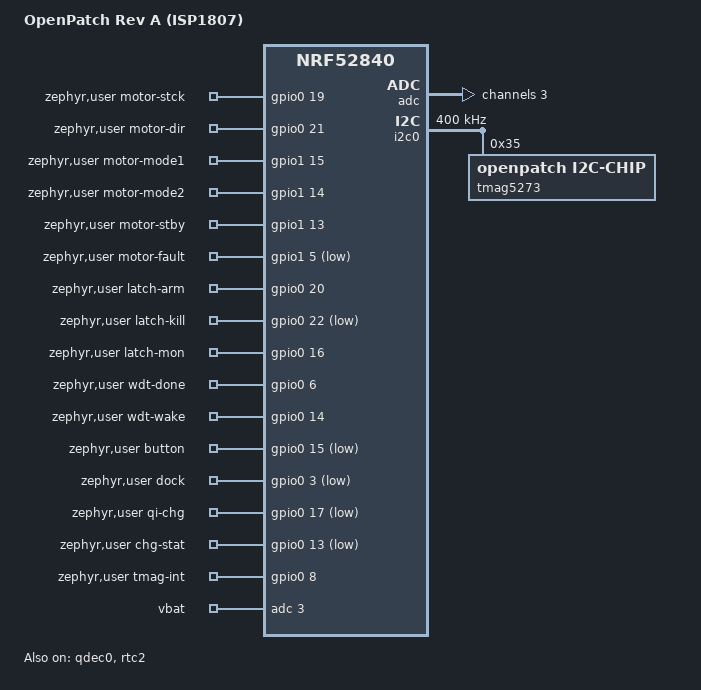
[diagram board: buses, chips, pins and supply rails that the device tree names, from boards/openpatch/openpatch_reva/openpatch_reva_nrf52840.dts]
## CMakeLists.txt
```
# OpenPatch pod firmware (nRF Connect SDK v3.4.x / Zephyr 4.x).
# EXPERIMENTAL DIY DEVICE - NOT A MEDICAL DEVICE.
#
# Use firmware/scripts/build.sh (sets up the toolchain environment, signing key and sysbuild).
#   Rev A board : west build --sysbuild -b openpatch_reva/nrf52840 firmware/zephyr
#   Dev kit     : west build --sysbuild -b nrf52840dk/nrf52840 firmware/zephyr -- -DEXTRA_CONF_FILE=dev.conf
cmake_minimum_required(VERSION 3.20.0)

# Custom board lives in ./boards (HWMv2: boards/<vendor>/<board>/board.yml).
list(APPEND BOARD_ROOT ${CMAKE_CURRENT_LIST_DIR})

find_package(Zephyr REQUIRED HINTS $ENV{ZEPHYR_BASE})
project(openpatch)

set(OP_CORE_DIR ${CMAKE_CURRENT_LIST_DIR}/../core)
file(GLOB OP_CORE_SRC CONFIGURE_DEPENDS ${OP_CORE_DIR}/src/*.c)
file(GLOB OP_APP_SRC CONFIGURE_DEPENDS ${CMAKE_CURRENT_LIST_DIR}/src/*.c)

target_sources(app PRIVATE ${OP_APP_SRC} ${OP_CORE_SRC})
target_include_directories(app PRIVATE ${OP_CORE_DIR}/include src)
# The portable core is warning-clean at -Wconversion on the host; keep it that way here.
set_source_files_properties(${OP_CORE_SRC} PROPERTIES COMPILE_OPTIONS "-Wconversion;-Wsign-conversion")
```

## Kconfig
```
mainmenu "OpenPatch"

menu "OpenPatch pod firmware"

config OPENPATCH_ALLOW_PLAINTEXT
	bool "Accept unencrypted protocol frames (DEVELOPMENT ONLY)"
	default n
	help
	  The application-layer AES-CCM backend and the session key agreement are not
	  implemented yet (open issue). With this disabled the pod rejects every frame,
	  i.e. it cannot be commanded. Enable only via dev.conf on a bench pod without
	  insulin. Never flash this to a pod worn on a body.

choice OPENPATCH_DRIVE
	prompt "Drive train (sets the insulin volume per motor step)"
	default OPENPATCH_DRIVE_ZWBPD006006_5_1
	help
	  SAFETY CRITICAL: selects the drive calibration preset (core/include/op/drive_cal.h) that
	  scales EVERY dose. It must match the motor/gearbox that is physically installed. The
	  selection is persisted on first boot; a later build with a different drive refuses to
	  deliver (OP_FAULT_NO_CALIBRATION) until the pod's flash is erased.

config OPENPATCH_DRIVE_ZWBPD006006_5_1
	bool "Rev A: Zhaowei ZWBPD006006, 20 steps/rev, 5:1 gear (0.0261 U/step)"

config OPENPATCH_DRIVE_FAULHABER_16_1
	bool "Premium: Faulhaber ADM0620 + 06/1 16:1 gear (0.0082 U/step, ~122.6 steps/U)"

endchoice

config OPENPATCH_RESERVOIR_MU
	int "Reservoir capacity in milli-units (70000 / 100000 / 200000)"
	default 200000

config OPENPATCH_SIM_ENCODER
	bool "Simulate the spindle encoder (open loop, perfect delivery)"
	default y if BOARD_NRF52840DK
	help
	  For the dev kit without a TMAG5273 + magnet on a spindle. Defeats the independent
	  delivery verification - bench use only.

config OPENPATCH_SIM_DOCK
	bool "Dock input is a push button that toggles a simulated DOCKED state"
	default y if BOARD_NRF52840DK
	help
	  For the dev kit without the Hall switch + magnet in a cannula adapter. Button 2 toggles
	  the simulated input; it starts UNDOCKED, so nothing delivers until it is pressed.
	  Bench use only.

config OPENPATCH_BATTERY_MONITOR
	bool "Board has a battery that the firmware monitors (VBAT via SAADC)"
	default y
	help
	  Disabled for the USB-powered bench controller: the HAL then gives the core no battery hook,
	  so there are no battery faults, no low-battery events and no battery alarms, and GetStatus
	  reports OP_BATTERY_NONE_MV (0xFFFF).

config OPENPATCH_SIM_BATTERY
	bool "Report a fixed battery voltage instead of reading SAADC"
	default y if BOARD_NRF52840DK
	help
	  The dev kit has no battery divider.

config OPENPATCH_SIM_BATTERY_MV
	int "Simulated battery voltage in mV"
	default 3900

config OPENPATCH_VBAT_DIV_NUM
	int "VBAT = V(SAADC) * NUM / DEN (divider 1.5M / 1M => 5/2)"
	default 5

config OPENPATCH_VBAT_DIV_DEN
	int "VBAT divider denominator"
	default 2

config OPENPATCH_VMOT_MIN_MV
	int "Minimum VMOT (mV) after arming the safety latch, else the motor stays off"
	default 2500

config OPENPATCH_STEP_RATE_HZ
	int "Motor step rate in Hz (full steps)"
	default 100
	range 10 400
	help
	  The STSPIN220 steps on the rising edge of STCK. At 100 Hz a 40 step prime takes 0.4 s.
	  The hardware watchdog worst case (see electronics/README.md) scales with this rate.

config OPENPATCH_STSPIN_MODE_BITS
	hex "STSPIN220 MODE1..MODE4 levels (bit0 = MODE1 ... bit3 = MODE4) for full-step"
	default 0x0
	help
	  Sampled by the driver on the rising edge of STBY/RESET. VERIFY against the STSPIN220
	  datasheet mode table before the first spin.

config OPENPATCH_ENC_REVERSE
	bool "Spindle angle increases opposite to the motor's forward direction"
	help
	  Depends on the magnet / sensor orientation. Verify on hardware.

config OPENPATCH_MOTOR_DIR_FORWARD_LEVEL
	int "Logical DIR level for delivery (forward)"
	default 1
	range 0 1

config OPENPATCH_PAIRING_WINDOW_S
	int "Seconds BLE pairing stays open after a button press"
	default 60

config OPENPATCH_WDT_HEARTBEAT_MS
	int "Max age of the main-loop heartbeat for answering a TPL5010 WAKE with DONE"
	default 2500
	help
	  The core ticks once per second. If the tick is late by more than this, DONE is
	  withheld, the TPL5010 resets the MCU and clears the motor latch.

config OPENPATCH_QDEC_MAX_UNSEEN_STEPS
	int "Steps commanded without a single hall (QDEC) count before the watchdog is starved"
	default 60 if OPENPATCH_DRIVE_ZWBPD006006_5_1
	default 120
	help
	  Hall path B gives about one count per spindle half-turn (5:1 drive: 25 steps per count,
	  0.65 U). The default keeps the unmonitored volume near 1.6 U (60 steps x 0.0261 U on the
	  5:1 drive). Used when the QDEC node is enabled in the devicetree.

config OPENPATCH_TMAG_OPTIONAL
	bool "TMAG5273 is an optional part: continue with a simulated encoder if it does not answer"
	help
	  Bench pod: the TMAG5273 may not be fitted. Without it there is no spindle slip measurement
	  (the occlusion detector cannot see a blocked line); see firmware/docs/bench-testing.md.

config OPENPATCH_IMOT_MV_PER_A
	int "Motor current sense gain in mV per A at the SAADC input (1 ohm = 1000)"
	default 1000
	range 1 100000
	help
	  Only used with an "imot" io-channel (bench controller). VERIFY against the sense resistor and
	  analog front end of the real board.

config OPENPATCH_OCC_ABS_PEAK_MA
	int "Occlusion detector: peak motor current (mA) that counts as stalled when the spindle also slips"
	default 150

config OPENPATCH_OCC_RISE_PCT
	int "Occlusion detector: mean current as % of the learned healthy baseline that counts as loaded"
	default 150

config OPENPATCH_OCC_SLIP_PCT_MIN
	int "Occlusion detector: encoder slip (%) needed together with a current criterion"
	default 30
	range 1 100

config OPENPATCH_OCC_STALL_SLIP_PCT
	int "Occlusion detector: encoder slip (%) that counts on its own"
	default 60
	range 1 100

config OPENPATCH_OCC_WINDOW_STEPS
	int "Occlusion detector: steps per evaluation window"
	default 8
	range 1 1000

config OPENPATCH_OCC_STRIKES
	int "Occlusion detector: consecutive bad windows that declare an occlusion"
	default 2
	range 1 20

config OPENPATCH_OCC_BASELINE_WINDOWS
	int "Occlusion detector: healthy windows before the relative current test is armed"
	default 3

config OPENPATCH_BENCH_MODE
	bool "Bench test mode: shell commands for gravimetric WATER tests (TEST ONLY)"
	depends on SHELL
	help
	  Adds the `bench` shell command set (docs: firmware/docs/bench-testing.md). The safety
	  supervisor stays fully active. Never enable on a pod that could ever be worn.

config OPENPATCH_LONG_PRESS_MS
	int "Button hold time for emergency stop (suspend delivery)"
	default 3000

endmenu

source "Kconfig.zephyr"
```

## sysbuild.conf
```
# MCUboot with ECDSA-P256 signed images. The signing key is passed by firmware/scripts/build.sh
# (-DSB_CONFIG_BOOT_SIGNATURE_KEY_FILE=...); the SDK's public demo key must never be used.
SB_CONFIG_BOOTLOADER_MCUBOOT=y
SB_CONFIG_BOOT_SIGNATURE_TYPE_ECDSA_P256=y
```

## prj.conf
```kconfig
# OpenPatch pod firmware - base configuration (production-like: no plaintext frames).

# --- Bluetooth LE peripheral; 244-byte frames fit one notification (ATT MTU 247) ---
CONFIG_BT=y
CONFIG_BT_PERIPHERAL=y
CONFIG_BT_DEVICE_NAME="OpenPatch"
CONFIG_BT_DEVICE_NAME_DYNAMIC=y
CONFIG_BT_DEVICE_NAME_MAX=24
CONFIG_BT_L2CAP_TX_MTU=247
CONFIG_BT_BUF_ACL_RX_SIZE=251
CONFIG_BT_BUF_ACL_TX_SIZE=251
CONFIG_BT_USER_DATA_LEN_UPDATE=y
CONFIG_BT_MAX_CONN=1

# --- pairing: LE Secure Connections only, bonded, accepted only after a button press ---
CONFIG_BT_SMP=y
CONFIG_BT_SMP_SC_ONLY=y
CONFIG_BT_SMP_APP_PAIRING_ACCEPT=y
CONFIG_BT_SMP_ALLOW_UNAUTH_OVERWRITE=y
CONFIG_BT_BONDABLE=y
CONFIG_BT_MAX_PAIRED=1
CONFIG_BT_SETTINGS=y

# --- persistence: settings on NVS in the "storage" partition ---
CONFIG_SETTINGS=y
CONFIG_SETTINGS_NVS=y
CONFIG_NVS=y
CONFIG_FLASH=y
CONFIG_FLASH_MAP=y
CONFIG_FLASH_PAGE_LAYOUT=y
CONFIG_MPU_ALLOW_FLASH_WRITE=y

# --- peripherals used by the HAL ---
CONFIG_GPIO=y
CONFIG_I2C=y
CONFIG_ADC=y
CONFIG_PWM=y
CONFIG_COUNTER=y
CONFIG_SENSOR=y

# --- signed DFU over BLE (SMP / mcumgr), MCUboot is added by sysbuild.conf ---
CONFIG_MCUMGR=y
CONFIG_MCUMGR_GRP_IMG=y
CONFIG_MCUMGR_GRP_OS=y
CONFIG_MCUMGR_TRANSPORT_BT=y
CONFIG_MCUMGR_TRANSPORT_BT_PERM_RW_ENCRYPT=y
CONFIG_MCUMGR_MGMT_NOTIFICATION_HOOKS=y
CONFIG_MCUMGR_GRP_IMG_UPLOAD_CHECK_HOOK=y
CONFIG_IMG_MANAGER=y
CONFIG_STREAM_FLASH=y
CONFIG_NET_BUF=y
CONFIG_ZCBOR=y
CONFIG_MCUBOOT_IMG_MANAGER=y

# --- diagnostics: RTT over SWD (the pod has no UART pads) ---
CONFIG_LOG=y
CONFIG_LOG_MODE_DEFERRED=y
CONFIG_ASSERT=y
CONFIG_USE_SEGGER_RTT=y
CONFIG_LOG_BACKEND_RTT=y
CONFIG_MAIN_STACK_SIZE=4096
CONFIG_SYSTEM_WORKQUEUE_STACK_SIZE=2048
CONFIG_HEAP_MEM_POOL_SIZE=2048
CONFIG_REBOOT=y
CONFIG_RESET_ON_FATAL_ERROR=y
```

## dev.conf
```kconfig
# DEVELOPMENT ONLY: unencrypted frames. Never flash to a pod worn on a body.
CONFIG_OPENPATCH_ALLOW_PLAINTEXT=y
```

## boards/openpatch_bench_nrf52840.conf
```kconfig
# Bench controller (openpatch_bench/nrf52840): TEST ONLY, water only.
# The bench shell lives on SEGGER RTT channel 0 (JLinkRTTClient / `nrfutil rtt`). The RTT log
# backend would fight for the same channel, so logs go through the shell's own log backend.
CONFIG_OPENPATCH_BENCH_MODE=y
CONFIG_OPENPATCH_BATTERY_MONITOR=n
CONFIG_OPENPATCH_TMAG_OPTIONAL=y

CONFIG_SHELL=y
CONFIG_SHELL_BACKEND_RTT=y
CONFIG_SHELL_LOG_BACKEND=y
CONFIG_SHELL_STACK_SIZE=3072
CONFIG_SHELL_CMD_BUFF_SIZE=96
CONFIG_LOG_BACKEND_RTT=n
CONFIG_RTT_CONSOLE=y
CONFIG_KERNEL_SHELL=n
CONFIG_SHELL_HISTORY=n
CONFIG_DEVMEM_SHELL=n
CONFIG_DEVICE_SHELL=n
CONFIG_DATE_SHELL=n
```

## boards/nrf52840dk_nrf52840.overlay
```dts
/*
 * SPDX-License-Identifier: Apache-2.0
 *
 * Bench setup on the nRF52840-DK, before Rev A boards exist. Same /zephyr,user
 * properties as boards/openpatch/openpatch_reva, re-mapped onto DK header pins.
 * Optional blocks (hardware safety latch, QDEC, charger, TMAG5273) are simply
 * absent: the application skips every feature whose devicetree property is missing.
 *
 * Wiring (DK Arduino header, labels D0..D13 / A0..A5, SDA/SCL):
 *   STSPIN220 breakout: STCK=D3 (P1.04), DIR=D4 (P1.05), MODE1=D5 (P1.06), MODE2=D6 (P1.07),
 *                       STBY/RESET=D7 (P1.08), EN/FAULT=D8 (P1.10)
 *   Battery divider test input: A0 (VBAT), A1 (VMOT) - ignored while CONFIG_OPENPATCH_SIM_BATTERY=y
 *   Nothing needs to be connected to see the firmware run: encoder and battery are
 *   simulated (CONFIG_OPENPATCH_SIM_*), LED1 (PWM) acts as the buzzer, Button 1 as the pod button,
 *   Button 2 toggles the simulated DOCKED input (starts undocked).
 */

/ {
	aliases {
		pwm-buzzer = &pwm0;
	};

	zephyr,user {
		motor-stck-gpios = <&gpio1 4 GPIO_ACTIVE_HIGH>;   /* D3 */
		motor-dir-gpios = <&gpio1 5 GPIO_ACTIVE_HIGH>;    /* D4 */
		motor-mode1-gpios = <&gpio1 6 GPIO_ACTIVE_HIGH>;  /* D5 */
		motor-mode2-gpios = <&gpio1 7 GPIO_ACTIVE_HIGH>;  /* D6 */
		motor-stby-gpios = <&gpio1 8 GPIO_ACTIVE_HIGH>;   /* D7 */
		motor-fault-gpios = <&gpio1 10 (GPIO_ACTIVE_LOW | GPIO_PULL_UP)>; /* D8 */

		wdt-done-gpios = <&gpio1 15 GPIO_ACTIVE_HIGH>;    /* D13: no TPL5010 on the DK, just a pin */
		wdt-wake-gpios = <&gpio1 3 GPIO_ACTIVE_HIGH>;     /* D2: connect a function generator to test */

		button-gpios = <&gpio0 11 (GPIO_PULL_UP | GPIO_ACTIVE_LOW)>; /* Button 1 */
		/* Button 2 toggles the SIMULATED dock input (CONFIG_OPENPATCH_SIM_DOCK) */
		dock-gpios = <&gpio0 12 (GPIO_PULL_UP | GPIO_ACTIVE_LOW)>;

		io-channels = <&adc 2>, <&adc 1>;
		io-channel-names = "vmot", "vbat";               /* A1 = P0.04 = AIN2, A0 = P0.03 = AIN1 */
	};
};

&adc {
	#address-cells = <1>;
	#size-cells = <0>;

	channel@1 {
		reg = <1>;
		zephyr,gain = "ADC_GAIN_1_4";
		zephyr,reference = "ADC_REF_INTERNAL";
		zephyr,acquisition-time = <ADC_ACQ_TIME(ADC_ACQ_TIME_MICROSECONDS, 40)>;
		zephyr,input-positive = <NRF_SAADC_AIN1>;
		zephyr,resolution = <12>;
		zephyr,oversampling = <3>;
	};

	channel@2 {
		reg = <2>;
		zephyr,gain = "ADC_GAIN_1_4";
		zephyr,reference = "ADC_REF_INTERNAL";
		zephyr,acquisition-time = <ADC_ACQ_TIME(ADC_ACQ_TIME_MICROSECONDS, 40)>;
		zephyr,input-positive = <NRF_SAADC_AIN2>;
		zephyr,resolution = <12>;
		zephyr,oversampling = <3>;
	};
};

/* RTC2 = step pulse timebase */
&rtc2 {
	status = "okay";
};
```

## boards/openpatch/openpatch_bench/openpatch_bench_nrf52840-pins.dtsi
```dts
/*
 * SPDX-License-Identifier: Apache-2.0
 *
 * OpenPatch bench controller: ALL pin assignments in one place (pinctrl + /zephyr,user GPIOs).
 * Source of truth: electronics/bench/pin-assignment.md.
 *
 * *** PLACEHOLDER PINS ***  Every pin below is a free-choice placeholder on a valid nRF52840
 * pad until electronics/bench/pin-assignment.md exists. They are NOT the board's real routing.
 * Do not connect hardware on the strength of this file. When the real table lands, edit only
 * this file and delete the `openpatch,placeholder-pins` property in /zephyr,user below; the
 * firmware prints a loud warning at every boot while the property is present.
 *
 * Avoided on purpose: P0.00/P0.01 (crystal pads on bare chips), P0.09/P0.10 (NFC pins),
 * P0.18 (nRESET, only if the board wires it).
 */

&pinctrl {
	/* PLACEHOLDER: TMAG5273 on I2C (optional part) */
	i2c0_default: i2c0_default {
		group1 {
			psels = <NRF_PSEL(TWIM_SDA, 0, 26)>,
				<NRF_PSEL(TWIM_SCL, 0, 27)>;
		};
	};

	i2c0_sleep: i2c0_sleep {
		group1 {
			psels = <NRF_PSEL(TWIM_SDA, 0, 26)>,
				<NRF_PSEL(TWIM_SCL, 0, 27)>;
			low-power-enable;
		};
	};

	/* PLACEHOLDER: buzzer drive (BUZ_PWM) */
	pwm0_default: pwm0_default {
		group1 {
			psels = <NRF_PSEL(PWM_OUT0, 0, 23)>;
		};
	};

	pwm0_sleep: pwm0_sleep {
		group1 {
			psels = <NRF_PSEL(PWM_OUT0, 0, 23)>;
			low-power-enable;
		};
	};

	/* PLACEHOLDER: HALL_A / HALL_B (2x DRV5032 in the pod, via FFC) -> QDEC */
	qdec_default: qdec_default {
		group1 {
			psels = <NRF_PSEL(QDEC_A, 1, 1)>,
				<NRF_PSEL(QDEC_B, 1, 2)>;
		};
	};

	qdec_sleep: qdec_sleep {
		group1 {
			psels = <NRF_PSEL(QDEC_A, 1, 1)>,
				<NRF_PSEL(QDEC_B, 1, 2)>;
			low-power-enable;
		};
	};
};

/ {
	zephyr,user {
		/* Remove this property when electronics/bench/pin-assignment.md has been applied. */
		openpatch,placeholder-pins;

		/* ---- STSPIN220 motor driver (full-step in firmware) ---- */
		motor-stck-gpios = <&gpio0 13 GPIO_ACTIVE_HIGH>;  /* PLACEHOLDER STEP / MODE3 */
		motor-dir-gpios = <&gpio0 14 GPIO_ACTIVE_HIGH>;   /* PLACEHOLDER DIR / MODE4 */
		/* STBY/RESET: high = driver active, pull-down on the board = fail-safe */
		motor-stby-gpios = <&gpio0 15 GPIO_ACTIVE_HIGH>;  /* PLACEHOLDER */
		/* EN/FAULT is open drain with a pull-up at the driver: read only */
		motor-fault-gpios = <&gpio0 16 (GPIO_ACTIVE_LOW | GPIO_PULL_UP)>; /* PLACEHOLDER */
		/* MODE1/MODE2 are strapped on the bench board (not driven by the MCU): no motor-mode*-gpios */

		/* ---- hardware interlock: VMOT = MCU enable AND TPL5010 latch AND DOCKED ---- */
		motor-enable-gpios = <&gpio0 17 GPIO_ACTIVE_HIGH>;   /* PLACEHOLDER MCU motor-enable */
		motor-allow-mon-gpios = <&gpio0 20 GPIO_ACTIVE_HIGH>; /* PLACEHOLDER read-back: motor supply allowed */

		/* ---- TPL5010 external watchdog ---- */
		wdt-done-gpios = <&gpio0 22 GPIO_ACTIVE_HIGH>;  /* PLACEHOLDER DONE: CPU-served only */
		wdt-wake-gpios = <&gpio0 24 GPIO_ACTIVE_HIGH>;  /* PLACEHOLDER WAKE pulse -> interrupt */

		/* ---- inputs from the pod / operator ---- */
		/* DOCKED: dock hall switch in the pod, via the FFC; asserted (low) = docked */
		dock-gpios = <&gpio0 11 (GPIO_PULL_UP | GPIO_ACTIVE_LOW)>;   /* PLACEHOLDER */
		button-gpios = <&gpio0 12 (GPIO_PULL_UP | GPIO_ACTIVE_LOW)>; /* PLACEHOLDER BTN_N */
		tmag-int-gpios = <&gpio0 8 GPIO_ACTIVE_HIGH>;                /* PLACEHOLDER optional TMAG5273 INT */

		/* ---- status LEDs ---- */
		status-led-gpios = <&gpio0 6 GPIO_ACTIVE_HIGH>;  /* PLACEHOLDER: on = active+docked, blinks = bench run */
		fault-led-gpios = <&gpio0 7 GPIO_ACTIVE_HIGH>;   /* PLACEHOLDER: on = latched fault */

		/* ---- SAADC: motor current sense (voltage across the STSPIN220 sense resistor(s)) ---- */
		io-channels = <&adc 0>;                          /* PLACEHOLDER AIN0 = P0.02 */
		io-channel-names = "imot";
	};
};
```

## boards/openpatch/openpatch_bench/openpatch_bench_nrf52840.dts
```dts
/*
 * SPDX-License-Identifier: Apache-2.0
 *
 * OpenPatch Rev A bench controller (spec/design-parameters.md 4a): nRF52840 module, STSPIN220,
 * hardware interlock, TPL5010, USB-C 5 V power (no battery, no charger), buzzer, button, 2 LEDs.
 * Drives the bench pod (motor + 2 halls + dock hall + optional TMAG5273) through an FFC cable.
 * TEST ONLY - NOT FOR HUMAN USE. Water tests only.
 *
 * All pins are in openpatch_bench_nrf52840-pins.dtsi (currently PLACEHOLDERS).
 */

/dts-v1/;
#include <nordic/nrf52840_qiaa.dtsi>
#include <nordic/nrf52840_partition.dtsi>
#include "openpatch_bench_nrf52840-pins.dtsi"

/ {
	model = "OpenPatch Rev A bench controller";
	compatible = "openpatch,bench";

	aliases {
		pwm-buzzer = &pwm0;
		qdec-hall = &qdec0;
		watchdog0 = &wdt0;
	};
};

&gpiote {
	status = "okay";
};

&gpio0 {
	status = "okay";
};

&gpio1 {
	status = "okay";
};

&adc {
	status = "okay";
	#address-cells = <1>;
	#size-cells = <0>;

	/* Motor current: V(sense) is a few 10 mV to ~0.15 V (VERIFY the analog front end on the board).
	 * Gain 4 on the 0.6 V reference = 0.15 V full scale, 12 bit = about 37 uV per count. */
	channel@0 {
		reg = <0>;
		zephyr,gain = "ADC_GAIN_4";
		zephyr,reference = "ADC_REF_INTERNAL";
		zephyr,acquisition-time = <ADC_ACQ_TIME(ADC_ACQ_TIME_MICROSECONDS, 10)>;
		zephyr,input-positive = <NRF_SAADC_AIN0>;
		zephyr,resolution = <12>;
	};
};

&i2c0 {
	compatible = "nordic,nrf-twim";
	status = "okay";
	clock-frequency = <I2C_BITRATE_FAST>;
	pinctrl-0 = <&i2c0_default>;
	pinctrl-1 = <&i2c0_sleep>;
	pinctrl-names = "default", "sleep";

	/* TMAG5273A1 3D hall (SOT-23-6 in the pod): OPTIONAL part. Without it the encoder is simulated. */
	tmag5273: tmag5273@35 {
		compatible = "openpatch,i2c-chip";
		reg = <0x35>;
	};
};

&pwm0 {
	status = "okay";
	pinctrl-0 = <&pwm0_default>;
	pinctrl-1 = <&pwm0_sleep>;
	pinctrl-names = "default", "sleep";
};

&qdec0 {
	status = "okay";
	pinctrl-0 = <&qdec_default>;
	pinctrl-1 = <&qdec_sleep>;
	pinctrl-names = "default", "sleep";
	steps = <4>;
	led-pre = <0>;
	nordic,period = "SAMPLEPER_2048US";
};

/* RTC2 = step pulse timebase (RTC0/RTC1 belong to the BLE controller / kernel). */
&rtc2 {
	status = "okay";
};
```

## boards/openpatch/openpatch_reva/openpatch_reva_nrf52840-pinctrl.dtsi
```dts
/*
 * SPDX-License-Identifier: Apache-2.0
 * Peripheral pin routing for OpenPatch Rev A. Source of truth: electronics/pin-assignment.md
 * (ISP1807 module pad -> nRF52840 port.pin). Plain GPIOs live in openpatch_reva_nrf52840.dts.
 */

&pinctrl {
	/* I2C: TMAG5273 (0x35) only; 4.7k pull-up is on the board */
	i2c0_default: i2c0_default {
		group1 {
			psels = <NRF_PSEL(TWIM_SDA, 0, 26)>,
				<NRF_PSEL(TWIM_SCL, 0, 27)>;
		};
	};

	i2c0_sleep: i2c0_sleep {
		group1 {
			psels = <NRF_PSEL(TWIM_SDA, 0, 26)>,
				<NRF_PSEL(TWIM_SCL, 0, 27)>;
			low-power-enable;
		};
	};

	/* HALL_A / HALL_B: 2x DRV5032 push-pull outputs, counted by QDEC independent of the CPU */
	qdec_default: qdec_default {
		group1 {
			psels = <NRF_PSEL(QDEC_A, 1, 2)>,
				<NRF_PSEL(QDEC_B, 1, 6)>;
		};
	};

	qdec_sleep: qdec_sleep {
		group1 {
			psels = <NRF_PSEL(QDEC_A, 1, 2)>,
				<NRF_PSEL(QDEC_B, 1, 6)>;
			low-power-enable;
		};
	};
};
```

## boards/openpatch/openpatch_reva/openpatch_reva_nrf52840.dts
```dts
/*
 * SPDX-License-Identifier: Apache-2.0
 *
 * OpenPatch Rev A: Insight SiP ISP1807 (nRF52840), insulin patch pump pod.
 * EXPERIMENTAL DIY DEVICE - NOT A MEDICAL DEVICE.
 *
 * All pin numbers come from electronics/pin-assignment.md (pad -> port.pin).
 * The application only uses the properties of the /zephyr,user node below, so
 * a bench setup (nrf52840dk) re-maps them in its own overlay and no C code
 * contains a pin number.
 */

/dts-v1/;
#include <nordic/nrf52840_qiaa.dtsi>
#include <nordic/nrf52840_partition.dtsi>
#include "openpatch_reva_nrf52840-pinctrl.dtsi"

/ {
	model = "OpenPatch Rev A (ISP1807)";
	compatible = "openpatch,reva";

	chosen {
		zephyr,console = &rtt0;
		zephyr,shell-uart = &rtt0;
	};

	rtt0: rtt_chan0 {
		compatible = "segger,rtt-uart";
		status = "okay";
	};

	aliases {
		qdec-hall = &qdec0;
		watchdog0 = &wdt0;
	};

	zephyr,user {
		/* ---- STSPIN220 motor driver (full-step in firmware, see Kconfig) ---- */
		motor-stck-gpios = <&gpio0 19 GPIO_ACTIVE_HIGH>;  /* MOT_STCK / MODE3 */
		motor-dir-gpios = <&gpio0 21 GPIO_ACTIVE_HIGH>;   /* MOT_DIR / MODE4 */
		motor-mode1-gpios = <&gpio1 15 GPIO_ACTIVE_HIGH>; /* MOT_MODE1 */
		motor-mode2-gpios = <&gpio1 14 GPIO_ACTIVE_HIGH>; /* MOT_MODE2 */
		/* STBY/RESET: high = driver active; 100k pulldown on the board -> fail-safe */
		motor-stby-gpios = <&gpio1 13 GPIO_ACTIVE_HIGH>;
		/* EN/FAULT is open drain with an internal pull-up at the driver: read only */
		motor-fault-gpios = <&gpio1 5 (GPIO_ACTIVE_LOW | GPIO_PULL_UP)>;

		/* ---- hardware safety latch (see electronics/README.md section 3) ---- */
		latch-arm-gpios = <&gpio0 20 GPIO_ACTIVE_HIGH>;                /* ARM_CLK: rising edge arms */
		latch-kill-gpios = <&gpio0 22 (GPIO_ACTIVE_LOW | GPIO_OPEN_DRAIN)>; /* KILL_N: asserted = low */
		latch-mon-gpios = <&gpio0 16 GPIO_ACTIVE_HIGH>;                /* LATCH_Q_MON: Q = MOT_ALLOW */

		/* ---- TPL5010 external watchdog ---- */
		wdt-done-gpios = <&gpio0 6 GPIO_ACTIVE_HIGH>;  /* DONE: CPU-served only */
		wdt-wake-gpios = <&gpio0 14 GPIO_ACTIVE_HIGH>; /* WAKE pulse -> interrupt */

		/* ---- misc inputs / enables ---- */
		button-gpios = <&gpio0 15 (GPIO_PULL_UP | GPIO_ACTIVE_LOW)>; /* BTN_N */
		/* DOCK_N: dock Hall switch DRV5032FA, active low = cannula-adapter magnet present = docked
		 * (P0.03, electronics/pin-assignment.md; also gates the motor supply in hardware) */
		dock-gpios = <&gpio0 3 (GPIO_PULL_UP | GPIO_ACTIVE_LOW)>;
		qi-chg-gpios = <&gpio0 17 (GPIO_PULL_UP | GPIO_ACTIVE_LOW)>; /* BQ51013B CHG, open drain */
		/* CHG_STAT: MCP73832 STAT, open drain, low = charging (no I2C charger on Rev A) */
		chg-stat-gpios = <&gpio0 13 (GPIO_PULL_UP | GPIO_ACTIVE_LOW)>;
		tmag-int-gpios = <&gpio0 8 GPIO_ACTIVE_HIGH>;

		/* ---- SAADC: VBAT only (1.5M/1M divider, V_adc = V * 0.4); VMOT sense is not populated ---- */
		io-channels = <&adc 3>;
		io-channel-names = "vbat";
	};
};

&reg1 {
	regulator-initial-mode = <NRF5X_REG_MODE_DCDC>; /* ISP1807 has the DC/DC passives inside */
};

&uicr {
	gpio-as-nreset; /* P0.18 = nRESET, driven by the TPL5010 RSTn */
};

&gpiote {
	status = "okay";
};

&gpio0 {
	status = "okay";
};

&gpio1 {
	status = "okay";
};

&adc {
	status = "okay";
	#address-cells = <1>;
	#size-cells = <0>;

	/* VBAT_SENSE on P0.05 / AIN3: 4.2 V * 0.4 = 1.68 V; gain 1/4 on the 0.6 V ref = 2.4 V full scale */
	channel@3 {
		reg = <3>;
		zephyr,gain = "ADC_GAIN_1_4";
		zephyr,reference = "ADC_REF_INTERNAL";
		zephyr,acquisition-time = <ADC_ACQ_TIME(ADC_ACQ_TIME_MICROSECONDS, 40)>;
		zephyr,input-positive = <NRF_SAADC_AIN3>;
		zephyr,resolution = <12>;
		zephyr,oversampling = <3>;
	};
};

&i2c0 {
	compatible = "nordic,nrf-twim";
	status = "okay";
	clock-frequency = <I2C_BITRATE_FAST>;
	pinctrl-0 = <&i2c0_default>;
	pinctrl-1 = <&i2c0_sleep>;
	pinctrl-names = "default", "sleep";

	/* TMAG5273A1 3D hall: absolute spindle angle (path A of the delivery verification).
	 * The only I2C device on Rev A: the charger is an MCP73832 (no I2C, status pin only). */
	tmag5273: tmag5273@35 {
		compatible = "openpatch,i2c-chip";
		reg = <0x35>;
	};
};

/* Path B: the QDEC peripheral counts HALL_A/HALL_B without the CPU (4 counts per spindle revolution). */
&qdec0 {
	status = "okay";
	pinctrl-0 = <&qdec_default>;
	pinctrl-1 = <&qdec_sleep>;
	pinctrl-names = "default", "sleep";
	steps = <4>;
	led-pre = <0>;
	nordic,period = "SAMPLEPER_2048US";
};

/* RTC2 = step pulse timebase (RTC0/RTC1 belong to the BLE controller / kernel). */
&rtc2 {
	status = "okay";
};
```

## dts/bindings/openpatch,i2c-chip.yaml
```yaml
# SPDX-License-Identifier: Apache-2.0
description: Generic I2C chip accessed with raw register reads by OpenPatch code (TMAG5273).
compatible: "openpatch,i2c-chip"
include: i2c-device.yaml
```

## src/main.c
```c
/*
 * OpenPatch pod firmware entry point: wires the portable core (firmware/core) to the Zephyr
 * HAL, the BLE GATT service, persistence and DFU.
 *
 * EXPERIMENTAL DIY DEVICE - NOT A MEDICAL DEVICE. UNTESTED ON HARDWARE.
 *
 * Threading: BLE writes, button and charger events are queued from their contexts and
 * handled here, so the core (not thread-safe) is only ever touched by the main thread.
 */
#include <string.h>

#include <zephyr/kernel.h>
#include <zephyr/logging/log.h>
#include <zephyr/sys/reboot.h>

#include "app_events.h"
#include "bench.h"
#include "ble_openpatch.h"
#include "board_io.h"
#include "button.h"
#include "buzzer.h"
#include "charger.h"
#include "dfu.h"
#include "encoder.h"
#include "hal_zephyr.h"
#include "leds.h"
#include "op/pump_controller.h"
#include "persist.h"

LOG_MODULE_REGISTER(main, LOG_LEVEL_INF);

#define TICK_MS 1000
#define CONFIRM_AFTER_TICKS 10 /* self-test: ten clean ticks, then the new image is confirmed */

static op_hal_t g_hal;
static op_pump_t g_pump;
static op_session_t g_session;
static bool g_charging;

static const op_ccm_ops_t g_session_ops = {
    /* encrypt/decrypt are NULL until the key agreement + AES-CCM backend exist (open issue):
     * encrypted frames are rejected with AUTH, plaintext only if CONFIG_OPENPATCH_ALLOW_PLAINTEXT. */
    .on_seq_accepted = persist_save_seq,
};

static void publish_dfu_state(void) { dfu_set_allowed(g_pump.de.suspended); }

static void handle_rx(const struct app_evt *e)
{
    uint8_t out[OP_FRAME_MAX];
    int n = op_pump_handle_frame(&g_pump, &g_session, e->data, e->len, out, sizeof out);
    persist_sync(&g_pump);
    publish_dfu_state();
    if (n < 0) {
        LOG_WRN("frame rejected (%d)", n); /* corrupt / replayed / unauthenticated: silent on air */
        return;
    }
    int err = openpatch_ble_notify(out, (size_t)n);
    if (err) LOG_WRN("notify failed (%d)", err);
}

static void emergency_stop(const char *why)
{
    LOG_WRN("%s: suspending delivery", why);
    bench_abort(); /* a running bench sequence ends here too */
    op_pump_cancel_bolus(&g_pump);
    op_pump_suspend(&g_pump);
    persist_sync(&g_pump);
    publish_dfu_state();
    buzzer_set(OP_BUZZER_BEEP);
}

static void handle_evt(const struct app_evt *e)
{
    switch (e->type) {
    case APP_EVT_RX_FRAME: handle_rx(e); break;
    case APP_EVT_BUTTON_SHORT:
        buzzer_silence();
        openpatch_ble_open_pairing_window();
        buzzer_set(OP_BUZZER_BEEP);
        break;
    case APP_EVT_BUTTON_LONG: emergency_stop("emergency stop (long press)"); break;
    case APP_EVT_BENCH_CMD:
        bench_handle_cmd(e);
        persist_sync(&g_pump);
        publish_dfu_state();
        break;
    case APP_EVT_CHARGER_CHANGED: {
        bool now = charger_active();
        if (now && !g_charging) {
            emergency_stop("on charger"); /* no delivery while charging (H8/H9) */
            op_pump_tick(&g_pump);        /* a pod on a charger is forced RELEASED right away */
            persist_sync(&g_pump);
        }
        g_charging = now;
        break;
    }
    default: break;
    }
}

/* Occlusion detector thresholds from Kconfig; the detector only runs where the HAL has current sense. */
static void configure_occlusion(void)
{
    const op_occ_cfg_t cfg = {
        .abs_peak_ma = CONFIG_OPENPATCH_OCC_ABS_PEAK_MA,
        .rise_pct = CONFIG_OPENPATCH_OCC_RISE_PCT,
        .slip_pct_min = CONFIG_OPENPATCH_OCC_SLIP_PCT_MIN,
        .stall_slip_pct = CONFIG_OPENPATCH_OCC_STALL_SLIP_PCT,
        .window_steps = CONFIG_OPENPATCH_OCC_WINDOW_STEPS,
        .strikes_needed = CONFIG_OPENPATCH_OCC_STRIKES,
        .baseline_windows = CONFIG_OPENPATCH_OCC_BASELINE_WINDOWS,
    };
    op_pump_set_occlusion_cfg(&g_pump, &cfg);
}

int main(void)
{
    struct persist_state st;
    int err = persist_init(&st);
    if (err) {
        LOG_ERR("persistent storage failed (%d) - refusing to run", err);
        return 0; /* no heartbeat reaches the TPL5010: motor path stays dead */
    }

    err = hal_zephyr_init(&g_hal);
    if (err == 0) err = button_init();
    if (err == 0) err = charger_init();
    if (err == 0) err = leds_init();
    if (err) {
        LOG_ERR("init failed (%d) - refusing to run", err);
        return 0; /* TPL5010 will cut the motor supply; no delivery without a working HAL */
    }

    const op_drive_cal_t *cal = persist_drive_cal(&st); /* NULL -> pump refuses to deliver */
    op_pump_init(&g_pump, &g_hal, cal, CONFIG_OPENPATCH_RESERVOIR_MU, st.next_event_id);
    encoder_set_steps_per_spindle_rev(op_drive_cal_steps_per_spindle_rev(cal));
    persist_apply_pod(&g_pump, &st);
    persist_apply_reservoir(&g_pump, &st);
    persist_sync(&g_pump);

    static const uint8_t salt[4] = {0}; /* TODO: from the session key agreement */
    op_session_init(&g_session, &g_session_ops, salt, IS_ENABLED(CONFIG_OPENPATCH_ALLOW_PLAINTEXT));
    if (st.seq_valid) { /* replay protection survives resets */
        g_session.rx_seen = true;
        g_session.last_rx_seq = st.last_seq;
    }

    bench_init(&g_pump);
    if (DT_NODE_HAS_PROP(OP_ZU, openpatch_placeholder_pins))
        LOG_ERR("PLACEHOLDER PIN MAP: the pin numbers in this build are NOT the real board wiring");
    configure_occlusion();

    dfu_init();
    publish_dfu_state();
    err = openpatch_ble_init();
    if (err) LOG_ERR("BLE init failed (%d)", err);
    g_charging = charger_active();
    if (g_charging) emergency_stop("booted on charger");

    int64_t next_tick = k_uptime_get() + TICK_MS;
    int clean_ticks = 0;
    for (;;) {
        int64_t wait = next_tick - k_uptime_get();
        struct app_evt e;
        if (wait > 0 && app_evt_wait(&e, (int32_t)wait) == 0) handle_evt(&e);
        if (k_uptime_get() >= next_tick) {
            op_pump_tick(&g_pump);
            bench_tick();
            persist_sync(&g_pump);
            publish_dfu_state();
            leds_update(g_pump.pod.active && g_pump.pod.docked, bench_running(), g_pump.sv.faults != 0);
            next_tick += TICK_MS;
            if (g_pump.sv.faults == 0 && ++clean_ticks == CONFIRM_AFTER_TICKS) dfu_confirm_image();
            if (g_pump.sv.faults) clean_ticks = 0;
        }
    }
    return 0;
}
```

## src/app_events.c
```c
#include "app_events.h"

#include <string.h>

#include <zephyr/kernel.h>

K_MSGQ_DEFINE(app_q, sizeof(struct app_evt), 6, 4);

int app_evt_post(enum app_evt_type type, const uint8_t *data, size_t len)
{
    struct app_evt e = {.type = (uint8_t)type};
    if (len > sizeof e.data) return -EMSGSIZE;
    if (data && len) memcpy(e.data, data, len);
    e.len = (uint8_t)len;
    return k_msgq_put(&app_q, &e, K_NO_WAIT) == 0 ? 0 : -ENOMEM;
}

int app_evt_wait(struct app_evt *out, int32_t timeout_ms)
{
    return k_msgq_get(&app_q, out, timeout_ms < 0 ? K_FOREVER : K_MSEC(timeout_ms)) == 0 ? 0 : -EAGAIN;
}
```

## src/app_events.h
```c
/* Single event queue into the main thread: the portable core is not thread-safe and is only
 * ever touched from main(). ISRs, the BLE stack and workqueues post events here. */
#ifndef APP_EVENTS_H
#define APP_EVENTS_H

#include <stddef.h>
#include <stdint.h>

#include "op/openpatch_proto.h"

enum app_evt_type {
    APP_EVT_RX_FRAME = 1,
    APP_EVT_BUTTON_SHORT,
    APP_EVT_BUTTON_LONG,
    APP_EVT_CHARGER_CHANGED,
    APP_EVT_BENCH_CMD, /* bench shell command, see bench.h (bench boards only) */
};

struct app_evt {
    uint8_t type;
    uint8_t len;
    uint8_t data[OP_FRAME_MAX];
};

/* ISR-safe, non-blocking; returns 0 or -ENOMEM when the queue is full. */
int app_evt_post(enum app_evt_type type, const uint8_t *data, size_t len);
/* Wait up to timeout_ms; returns 0 and fills *out, or -EAGAIN on timeout. */
int app_evt_wait(struct app_evt *out, int32_t timeout_ms);

#endif
```

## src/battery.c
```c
#include "battery.h"

#include <zephyr/drivers/adc.h>
#include <zephyr/kernel.h>
#include <zephyr/logging/log.h>

#include "board_io.h"

LOG_MODULE_REGISTER(battery, LOG_LEVEL_INF);

/* Channels are optional per board (devicetree io-channel-names): Rev A pod has VBAT only, the dev
 * kit has both, the bench controller has none (USB powered). */
#define HAVE_VBAT (OP_HAS_ADC(vbat) && IS_ENABLED(CONFIG_OPENPATCH_BATTERY_MONITOR))
#define HAVE_VMOT OP_HAS_ADC(vmot)

#if HAVE_VBAT
static const struct adc_dt_spec g_vbat = ADC_DT_SPEC_GET_BY_NAME(OP_ZU, vbat);
#endif
#if HAVE_VMOT
static const struct adc_dt_spec g_vmot = ADC_DT_SPEC_GET_BY_NAME(OP_ZU, vmot);
#endif

#if HAVE_VBAT || HAVE_VMOT
static uint16_t read_scaled_mv(const struct adc_dt_spec *ch)
{
    int16_t raw = 0;
    struct adc_sequence seq = {.buffer = &raw, .buffer_size = sizeof raw};
    int32_t mv;
    if (adc_sequence_init_dt(ch, &seq) != 0 || adc_read_dt(ch, &seq) != 0) return 0;
    mv = raw;
    if (adc_raw_to_millivolts_dt(ch, &mv) != 0 || mv < 0) return 0;
    int64_t v = (int64_t)mv * CONFIG_OPENPATCH_VBAT_DIV_NUM / CONFIG_OPENPATCH_VBAT_DIV_DEN;
    return v > UINT16_MAX ? UINT16_MAX : (uint16_t)v;
}
#endif

int battery_init(void)
{
    int rc = 0;
#if HAVE_VBAT
    if (!adc_is_ready_dt(&g_vbat)) return -ENODEV;
    rc = adc_channel_setup_dt(&g_vbat);
#endif
#if HAVE_VMOT
    if (!rc) {
        if (!adc_is_ready_dt(&g_vmot)) return -ENODEV;
        rc = adc_channel_setup_dt(&g_vmot);
    }
#endif
    if (!IS_ENABLED(CONFIG_OPENPATCH_BATTERY_MONITOR)) LOG_WRN("battery monitoring disabled (USB-powered board)");
    return rc;
}

uint16_t battery_vbat_mv(void)
{
    if (IS_ENABLED(CONFIG_OPENPATCH_SIM_BATTERY)) return (uint16_t)CONFIG_OPENPATCH_SIM_BATTERY_MV;
#if HAVE_VBAT
    return read_scaled_mv(&g_vbat);
#else
    return 0xFFFF; /* unreachable in practice: no VBAT channel means no battery hook */
#endif
}

bool battery_vmot_available(void) { return HAVE_VMOT; }

uint16_t battery_vmot_mv(void)
{
#if HAVE_VMOT
    return read_scaled_mv(&g_vmot);
#else
    return 0;
#endif
}
```

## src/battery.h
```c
#ifndef BATTERY_H
#define BATTERY_H

#include <stdbool.h>
#include <stdint.h>

int battery_init(void);
/* VBAT in mV; 0 on measurement failure (the core treats 0 as BATTERY_CRITICAL: fail safe).
 * Boards without battery monitoring (CONFIG_OPENPATCH_BATTERY_MONITOR=n, USB-powered bench
 * controller) never call this: the HAL hands the core a NULL battery hook. */
uint16_t battery_vbat_mv(void);
/* true if the board has a VMOT sense channel (rail check after arming the latch) */
bool battery_vmot_available(void);
/* VMOT in mV; 0 on failure or without a VMOT channel */
uint16_t battery_vmot_mv(void);

#endif
```

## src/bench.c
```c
/* Bench test mode: shell commands (shell thread) -> queued events -> executed in main(). */
#include "bench.h"

#ifdef CONFIG_OPENPATCH_BENCH_MODE

#include <stdarg.h>
#include <stdio.h>
#include <string.h>

#include <zephyr/kernel.h>
#include <zephyr/logging/log.h>
#include <zephyr/shell/shell.h>

#include "board_io.h"
#include "encoder.h"
#include "op/bench_test.h"

LOG_MODULE_REGISTER(bench, LOG_LEVEL_INF);

enum bench_op { BOP_PREP = 1, BOP_RUN, BOP_STOP, BOP_STATUS, BOP_ACK, BOP_RESUME, BOP_LOG, BOP_OCC };

struct bench_cmd {
    uint8_t op;
    uint8_t nargs;
    uint32_t a[6];
};

static op_pump_t *g_pump;
static op_bench_t g_bench;
static const struct shell *g_sh; /* where answers and CSV go: the shell that issued the last command */
static uint32_t g_last_qdec;

/* ---- output ---------------------------------------------------------------------------- */
static void out(const char *fmt, ...)
{
    char line[160];
    va_list ap;
    va_start(ap, fmt);
    vsnprintf(line, sizeof line, fmt, ap);
    va_end(ap);
    if (g_sh) shell_print(g_sh, "%s", line);
    else LOG_INF("%s", line);
}

static const char *err_name(op_err_t e)
{
    static const char *const n[] = {"OK", "BAD_ARG", "LIMIT", "BUSY", "FAULT", "SUSPENDED", "NOT_SUSPENDED",
                                    "RESERVOIR", "PERSISTS", "UNSUPPORTED", "FRAME", "CRC", "VERSION", "REPLAY",
                                    "AUTH", "TOO_LARGE", "HOURLY", "NOT_FOUND", "SESSION", "NOT_DOCKED",
                                    "RELEASED", "ALREADY_ACTIVE", "PAIR", "WEAR_EXPIRED", "CHARGING"};
    return (unsigned)e < ARRAY_SIZE(n) ? n[e] : "?";
}

static const char *state_name(op_bench_state_t s)
{
    static const char *const n[] = {"idle", "pulsing", "pausing", "wait_rate", "done", "aborted"};
    return (unsigned)s < ARRAY_SIZE(n) ? n[s] : "?";
}

static void csv_header(void)
{
    out("CSV,pulse,cmd_mU,t_start_ms,t_end_ms,steps,expected_steps,total_steps,enc_substeps,qdec_counts,"
        "peak_mA,bursts,faults,result");
}

static void sink(void *ctx, const op_bench_rec_t *r)
{
    ARG_UNUSED(ctx);
    uint32_t q = g_last_qdec;
    (void)encoder_qdec_counts(&q);
    uint32_t dq = q - g_last_qdec;
    g_last_qdec = q;
    out("CSV,%u,%u,%u,%u,%u,%u,%u,%d,%u,%u,%u,0x%04x,%u", (unsigned)r->pulse, (unsigned)r->cmd_mu,
        (unsigned)r->t_start_ms, (unsigned)r->t_end_ms, (unsigned)r->steps, (unsigned)r->expected_steps,
        (unsigned)r->total_steps, (int)r->enc_substeps, (unsigned)dq, (unsigned)r->peak_ma, (unsigned)r->bursts,
        (unsigned)r->faults, (unsigned)r->result);
}

/* ---- commands executed on the main thread ---------------------------------------------- */
static void do_status(void)
{
    const op_pump_t *p = g_pump;
    out("bench: state=%s pulse=%u/%u completed=%u end_reason=%u", state_name(g_bench.state),
        (unsigned)g_bench.pulse, (unsigned)g_bench.cfg.pulses, (unsigned)g_bench.completed,
        (unsigned)g_bench.end_reason);
    out("pump: active=%d docked=%d suspended=%d bolus=%d faults=0x%04x reservoir_mU=%u delivered_steps=%u "
        "uU_per_step=%u",
        p->pod.active, p->pod.docked, p->de.suspended, p->de.bolus_active, (unsigned)p->sv.faults,
        (unsigned)op_res_remaining_mu(&p->res), (unsigned)p->de.delivered_steps, (unsigned)p->cal.micro_u_per_step);
    out("encoder=%s occ: enabled=%d tripped=%d windows=%u strikes=%u baseline_mA=%u last_slip=%u%% last_mean_mA=%u "
        "last_peak_mA=%u",
        encoder_is_simulated() ? "SIMULATED" : "TMAG5273", p->occ.enabled, p->occ.occluded,
        (unsigned)p->occ.windows, (unsigned)p->occ.strikes, (unsigned)p->occ.baseline_ma,
        (unsigned)p->occ.last_slip_pct, (unsigned)p->occ.last_mean_ma, (unsigned)p->occ.last_peak_ma);
    if (DT_NODE_HAS_PROP(OP_ZU, openpatch_placeholder_pins))
        out("WARNING: PLACEHOLDER PIN MAP - this firmware does not match the real board wiring");
}

static void do_log(uint32_t n)
{
    op_event_t ev[16];
    uint32_t from = op_log_next_id(&g_pump->log);
    from = from > n ? from - n : 0;
    uint32_t c = op_log_read(&g_pump->log, from, ev, n > 16 ? 16 : n);
    out("LOG,id,time_s,type,a,b");
    for (uint32_t i = 0; i < c; i++)
        out("LOG,%u,%u,%u,%d,%d", (unsigned)ev[i].id, (unsigned)ev[i].time_s, (unsigned)ev[i].type, (int)ev[i].a,
            (int)ev[i].b);
}

static void do_occ(const struct bench_cmd *c)
{
    op_occ_cfg_t cfg = g_pump->occ.cfg;
    if (c->nargs >= 6) {
        cfg = (op_occ_cfg_t){.abs_peak_ma = (uint16_t)c->a[0], .rise_pct = (uint16_t)c->a[1],
                             .slip_pct_min = (uint8_t)c->a[2], .stall_slip_pct = (uint8_t)c->a[3],
                             .window_steps = (uint16_t)c->a[4], .strikes_needed = (uint8_t)c->a[5],
                             .baseline_windows = g_pump->occ.cfg.baseline_windows};
        op_pump_set_occlusion_cfg(g_pump, &cfg);
    }
    out("occ: abs_peak_mA=%u rise_pct=%u slip_min=%u%% stall_slip=%u%% window_steps=%u strikes=%u enabled=%d",
        cfg.abs_peak_ma, cfg.rise_pct, cfg.slip_pct_min, cfg.stall_slip_pct, cfg.window_steps, cfg.strikes_needed,
        g_pump->occ.enabled);
}

void bench_handle_cmd(const struct app_evt *e)
{
    struct bench_cmd c;
    if (e->len != sizeof c) return;
    memcpy(&c, e->data, sizeof c);
    op_err_t err = OP_OK;
    switch (c.op) {
    case BOP_PREP:
        err = op_bench_prepare(g_pump, c.a[0], c.nargs > 1 ? c.a[1] : 0);
        out("prep: %s", err_name(err));
        break;
    case BOP_RUN: {
        op_bench_cfg_t cfg = {.pulses = c.a[0], .amount_mu = c.a[1], .pause_ms = c.a[2]};
        (void)encoder_qdec_counts(&g_last_qdec);
        err = op_bench_start(&g_bench, g_pump, &cfg);
        if (err == OP_OK) {
            csv_header();
            out("run: started %u x %u mU, pause %u ms (state %s)", (unsigned)cfg.pulses, (unsigned)cfg.amount_mu,
                (unsigned)cfg.pause_ms, state_name(g_bench.state));
        } else {
            out("run: refused: %s", err_name(err));
        }
        break;
    }
    case BOP_STOP:
        op_bench_abort(&g_bench, g_pump);
        out("stop: state=%s", state_name(g_bench.state));
        break;
    case BOP_ACK:
        err = op_pump_acknowledge(g_pump, 0xFFFF);
        out("ack: %s, faults now 0x%04x", err_name(err), (unsigned)g_pump->sv.faults);
        break;
    case BOP_RESUME:
        err = op_pump_resume(g_pump);
        out("resume: %s", err_name(err));
        break;
    case BOP_STATUS: do_status(); break;
    case BOP_LOG: do_log(c.nargs ? c.a[0] : 8); break;
    case BOP_OCC: do_occ(&c); break;
    default: break;
    }
}

void bench_tick(void)
{
    bool was = op_bench_running(&g_bench);
    op_bench_tick(&g_bench, g_pump);
    if (was && !op_bench_running(&g_bench))
        out("run: %s (completed %u of %u, reason %u)", state_name(g_bench.state), (unsigned)g_bench.completed,
            (unsigned)g_bench.cfg.pulses, (unsigned)g_bench.end_reason);
}

void bench_abort(void)
{
    if (op_bench_running(&g_bench)) {
        op_bench_abort(&g_bench, g_pump);
        out("run: aborted by emergency stop");
    }
}

bool bench_running(void) { return op_bench_running(&g_bench); }

void bench_init(op_pump_t *pump)
{
    g_pump = pump;
    op_bench_init(&g_bench, sink, NULL);
    LOG_WRN("BENCH TEST MODE: water only, never insulin, never on a body");
    if (DT_NODE_HAS_PROP(OP_ZU, openpatch_placeholder_pins))
        LOG_ERR("PLACEHOLDER PIN MAP: electronics/bench/pin-assignment.md has not been applied");
}

/* ---- shell (shell thread): parse, queue ------------------------------------------------- */
static int queue(const struct shell *sh, enum bench_op op, size_t argc, char **argv, size_t first, size_t min_args,
                 size_t max_args)
{
    size_t n = argc - first;
    if (n < min_args || n > max_args) {
        shell_error(sh, "expected %u..%u argument(s)", (unsigned)min_args, (unsigned)max_args);
        return -EINVAL;
    }
    struct bench_cmd c = {.op = (uint8_t)op, .nargs = (uint8_t)n};
    for (size_t i = 0; i < n; i++) {
        int err = 0;
        unsigned long v = shell_strtoul(argv[first + i], 10, &err);
        if (err || v > UINT32_MAX) {
            shell_error(sh, "bad number '%s'", argv[first + i]);
            return -EINVAL;
        }
        c.a[i] = (uint32_t)v;
    }
    g_sh = sh;
    if (app_evt_post(APP_EVT_BENCH_CMD, (const uint8_t *)&c, sizeof c) != 0) {
        shell_error(sh, "busy, try again");
        return -EBUSY;
    }
    return 0;
}

static int cmd_prep(const struct shell *sh, size_t argc, char **argv) { return queue(sh, BOP_PREP, argc, argv, 1, 1, 2); }
static int cmd_run(const struct shell *sh, size_t argc, char **argv) { return queue(sh, BOP_RUN, argc, argv, 1, 3, 3); }
static int cmd_stop(const struct shell *sh, size_t argc, char **argv) { return queue(sh, BOP_STOP, argc, argv, 1, 0, 0); }
static int cmd_status(const struct shell *sh, size_t argc, char **argv) { return queue(sh, BOP_STATUS, argc, argv, 1, 0, 0); }
static int cmd_ack(const struct shell *sh, size_t argc, char **argv) { return queue(sh, BOP_ACK, argc, argv, 1, 0, 0); }
static int cmd_resume(const struct shell *sh, size_t argc, char **argv) { return queue(sh, BOP_RESUME, argc, argv, 1, 0, 0); }
static int cmd_log(const struct shell *sh, size_t argc, char **argv) { return queue(sh, BOP_LOG, argc, argv, 1, 0, 1); }
static int cmd_occ(const struct shell *sh, size_t argc, char **argv)
{
    if (argc != 1 && argc != 7) {
        shell_error(sh, "usage: bench occ [<abs_peak_mA> <rise_pct> <slip_min_pct> <stall_slip_pct> <window_steps> <strikes>]");
        return -EINVAL;
    }
    return queue(sh, BOP_OCC, argc, argv, 1, argc - 1, argc - 1);
}

SHELL_STATIC_SUBCMD_SET_CREATE(
    sub_bench,
    SHELL_CMD_ARG(prep, NULL, "prep <fill_mU> [prime_steps]: pair, fill, activate, prime, resume (WATER ONLY)",
                  cmd_prep, 2, 1),
    SHELL_CMD_ARG(run, NULL, "run <pulses> <amount_mU> <pause_ms>: gravimetric pulse sequence, CSV per pulse",
                  cmd_run, 4, 0),
    SHELL_CMD_ARG(stop, NULL, "stop the running sequence", cmd_stop, 1, 0),
    SHELL_CMD_ARG(status, NULL, "pump, sequence and occlusion detector state", cmd_status, 1, 0),
    SHELL_CMD_ARG(ack, NULL, "acknowledge latched faults (refused while the cause persists)", cmd_ack, 1, 0),
    SHELL_CMD_ARG(resume, NULL, "resume delivery after a fault or stop", cmd_resume, 1, 0),
    SHELL_CMD_ARG(log, NULL, "log [n]: last n events (CSV)", cmd_log, 1, 1),
    SHELL_CMD_ARG(occ, NULL, "occ [abs_mA rise_pct slip_min stall_slip window strikes]: show/set detector",
                  cmd_occ, 1, 6),
    SHELL_SUBCMD_SET_END);

SHELL_CMD_REGISTER(bench, &sub_bench, "OpenPatch bench test mode (TEST ONLY, WATER ONLY)", NULL);

#endif /* CONFIG_OPENPATCH_BENCH_MODE */
```

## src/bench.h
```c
/*
 * Bench test mode glue (bench controller, CONFIG_OPENPATCH_BENCH_MODE): the `bench` shell command
 * set on SEGGER RTT. TEST ONLY, WATER ONLY. Docs: firmware/docs/bench-testing.md.
 *
 * The shell runs on its own thread, the portable core is main-thread only: commands are queued as
 * APP_EVT_BENCH_CMD and executed (and answered) from main(). Everything goes through the normal pump
 * API, so the safety supervisor, dock precondition and fault handling are unchanged.
 */
#ifndef BENCH_H
#define BENCH_H

#include <stdbool.h>

#include "app_events.h"
#include "op/pump_controller.h"

#ifdef CONFIG_OPENPATCH_BENCH_MODE
void bench_init(op_pump_t *pump);
void bench_handle_cmd(const struct app_evt *e); /* main thread */
void bench_tick(void);                          /* main thread, once per tick, after op_pump_tick() */
void bench_abort(void);                         /* emergency stop / charger: end a running sequence */
bool bench_running(void);
#else
static inline void bench_init(op_pump_t *pump) { (void)pump; }
static inline void bench_handle_cmd(const struct app_evt *e) { (void)e; }
static inline void bench_tick(void) {}
static inline void bench_abort(void) {}
static inline bool bench_running(void) { return false; }
#endif

#endif
```

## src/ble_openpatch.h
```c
#ifndef BLE_OPENPATCH_H
#define BLE_OPENPATCH_H

#include <stdbool.h>
#include <stddef.h>
#include <stdint.h>

/* Bring up the Bluetooth stack, load bonds, start advertising. Frames from Command writes are
 * posted to the main thread with app_evt_post(APP_EVT_RX_FRAME, ...). */
int openpatch_ble_init(void);
/* Send one frame (<= 244 B) as notification on the Response characteristic. */
int openpatch_ble_notify(const uint8_t *data, size_t len);
/* Button press: accept pairing (LE Secure Connections, Just Works) for CONFIG_OPENPATCH_PAIRING_WINDOW_S. */
void openpatch_ble_open_pairing_window(void);
bool openpatch_ble_pairing_window_open(void);

#endif
```

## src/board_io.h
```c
/*
 * Devicetree access helpers. Every pin of the pod is a property of the /zephyr,user node
 * (board dts or app overlay); C code never contains a pin number. A feature whose property
 * is missing is compiled out (dev kit without safety latch, charger, ...).
 */
#ifndef BOARD_IO_H
#define BOARD_IO_H

#include <zephyr/devicetree.h>

#define OP_ZU DT_PATH(zephyr_user)
#define OP_HAS(prop) DT_NODE_HAS_PROP(OP_ZU, prop)
/* SAADC channel by name in /zephyr,user io-channel-names ("vbat", "vmot", "imot") */
#define OP_HAS_ADC(name) DT_PROP_HAS_NAME(OP_ZU, io_channels, name)

#endif
```

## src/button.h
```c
/* Pod button: short press = open pairing window / silence alarm, long press = emergency stop. */
#ifndef BUTTON_H
#define BUTTON_H

int button_init(void);

#endif
```
